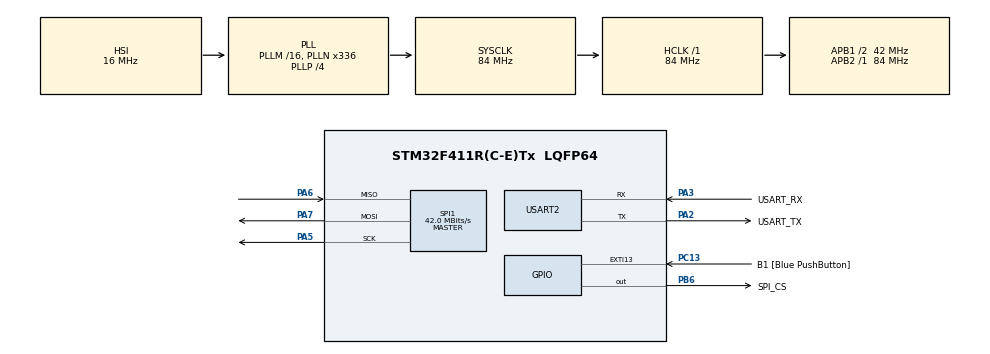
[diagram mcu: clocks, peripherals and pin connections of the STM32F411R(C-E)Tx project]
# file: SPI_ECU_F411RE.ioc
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FREERTOS.Tasks01=defaultTask,24,128,StartDefaultTask,Default,NULL,Dynamic,NULL,NULL
Mcu.Family=STM32F4
Mcu.Name=STM32F411R(C-E)Tx
Mcu.Package=LQFP64
NVIC.PriorityGroup=NVIC_PRIORITYGROUP_4
PA13.GPIO_Label=TMS
PA13.Mode=Serial_Wire
PA13.Signal=SYS_JTMS-SWDIO
PA14.GPIO_Label=TCK
PA14.Mode=Serial_Wire
PA14.Signal=SYS_JTCK-SWCLK
PA2.GPIO_Label=USART_TX
PA2.Mode=Asynchronous
PA2.Signal=USART2_TX
PA3.GPIO_Label=USART_RX
PA3.Mode=Asynchronous
PA3.Signal=USART2_RX
PA5.Mode=Full_Duplex_Master
PA5.Signal=SPI1_SCK
PA6.Mode=Full_Duplex_Master
PA6.Signal=SPI1_MISO
PA7.Mode=Full_Duplex_Master
PA7.Signal=SPI1_MOSI
PB3.GPIO_Label=SWO
PB3.Signal=SYS_JTDO-SWO
PB6.GPIO_Label=SPI_CS
PB6.Signal=GPIO_Output
PC13-ANTI_TAMP.GPIO_Label=B1 [Blue PushButton]
PC13-ANTI_TAMP.GPIO_ModeDefaultEXTI=GPIO_MODE_IT_FALLING
PC13-ANTI_TAMP.Signal=GPXTI13
PC14-OSC32_IN.Mode=LSE-External-Oscillator
PC14-OSC32_IN.Signal=RCC_OSC32_IN
PC15-OSC32_OUT.Mode=LSE-External-Oscillator
PC15-OSC32_OUT.Signal=RCC_OSC32_OUT
PH0\ -\ OSC_IN.Mode=HSE-External-Clock-Source
PH0\ -\ OSC_IN.Signal=RCC_OSC_IN
PH1\ -\ OSC_OUT.Mode=HSE-External-Clock-Source
PH1\ -\ OSC_OUT.Signal=RCC_OSC_OUT
ProjectManager.HeapSize=0x200
ProjectManager.StackSize=0x400
ProjectManager.TargetToolchain=STM32CubeIDE
RCC.48MHZClocksFreq_Value=84000000
RCC.AHBFreq_Value=84000000
RCC.APB1CLKDivider=RCC_HCLK_DIV2
RCC.APB1Freq_Value=42000000
RCC.APB1TimFreq_Value=84000000
RCC.APB2Freq_Value=84000000
RCC.APB2TimFreq_Value=84000000
RCC.CortexFreq_Value=84000000
RCC.FLatency-AdvancedSettings=FLASH_LATENCY_2
RCC.HCLKFreq_Value=84000000
RCC.HSE_VALUE=8000000
RCC.HSI_VALUE=16000000
RCC.PLLN=336
RCC.PLLP=RCC_PLLP_DIV4
RCC.SYSCLKFreq_VALUE=84000000
RCC.SYSCLKSource=RCC_SYSCLKSOURCE_PLLCLK
RCC.VCOOutputFreq_Value=336000000
SPI1.CalculateBaudRate=42.0 MBits/s
SPI1.Direction=SPI_DIRECTION_2LINES
SPI1.Mode=SPI_MODE_MASTER
SPI1.VirtualType=VM_MASTER
USART2.VirtualMode=VM_ASYNC
VP_FREERTOS_VS_CMSIS_V2.Mode=CMSIS_V2
board=NUCLEO-F411RE

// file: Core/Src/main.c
/* USER CODE BEGIN Header */
/**
  ******************************************************************************
  * @file           : main.c
  * @brief          : Main program body
  ******************************************************************************
  * @attention
  *
  * Copyright (c) 2025 STMicroelectronics.
  * All rights reserved.
  *
  * This software is licensed under terms that can be found in the LICENSE file
  * in the root directory of this software component.
  * If no LICENSE file comes with this software, it is provided AS-IS.
  *
  ******************************************************************************
  */
/* USER CODE END Header */
#include "main.h"
#include "cmsis_os.h"
#include "spi.h"
#include "usart.h"
#include "gpio.h"

void SystemClock_Config(void);
void MX_FREERTOS_Init(void);

int main(void)
{

  /* MCU Configuration--------------------------------------------------------*/

  /* Reset of all peripherals, Initializes the Flash interface and the Systick. */
  HAL_Init();

  /* Configure the system clock */
  SystemClock_Config();

  /* Initialize all configured peripherals */
  MX_GPIO_Init();
  MX_USART2_UART_Init();
  MX_SPI1_Init();

  /* Init scheduler */
  osKernelInitialize();  /* Call init function for freertos objects (in cmsis_os2.c) */
  MX_FREERTOS_Init();

  /* Start scheduler */
  osKernelStart();

  /* We should never get here as control is now taken by the scheduler */

  /* Infinite loop */
  while (1)
  {

  }
}

void SystemClock_Config(void)
{
  RCC_OscInitTypeDef RCC_OscInitStruct = {0};
  RCC_ClkInitTypeDef RCC_ClkInitStruct = {0};

  /** Configure the main internal regulator output voltage
  */
  __HAL_RCC_PWR_CLK_ENABLE();
  __HAL_PWR_VOLTAGESCALING_CONFIG(PWR_REGULATOR_VOLTAGE_SCALE1);

  /** Initializes the RCC Oscillators according to the specified parameters
  * in the RCC_OscInitTypeDef structure.
  */
  RCC_OscInitStruct.OscillatorType = RCC_OSCILLATORTYPE_HSI;
  RCC_OscInitStruct.HSIState = RCC_HSI_ON;
  RCC_OscInitStruct.HSICalibrationValue = RCC_HSICALIBRATION_DEFAULT;
  RCC_OscInitStruct.PLL.PLLState = RCC_PLL_ON;
  RCC_OscInitStruct.PLL.PLLSource = RCC_PLLSOURCE_HSI;
  RCC_OscInitStruct.PLL.PLLM = 16;
  RCC_OscInitStruct.PLL.PLLN = 336;
  RCC_OscInitStruct.PLL.PLLP = RCC_PLLP_DIV4;
  RCC_OscInitStruct.PLL.PLLQ = 4;
  if (HAL_RCC_OscConfig(&RCC_OscInitStruct) != HAL_OK)
  {
    Error_Handler();
  }

  /** Initializes the CPU, AHB and APB buses clocks
  */
  RCC_ClkInitStruct.ClockType = RCC_CLOCKTYPE_HCLK|RCC_CLOCKTYPE_SYSCLK
                              |RCC_CLOCKTYPE_PCLK1|RCC_CLOCKTYPE_PCLK2;
  RCC_ClkInitStruct.SYSCLKSource = RCC_SYSCLKSOURCE_PLLCLK;
  RCC_ClkInitStruct.AHBCLKDivider = RCC_SYSCLK_DIV1;
  RCC_ClkInitStruct.APB1CLKDivider = RCC_HCLK_DIV2;
  RCC_ClkInitStruct.APB2CLKDivider = RCC_HCLK_DIV1;

  if (HAL_RCC_ClockConfig(&RCC_ClkInitStruct, FLASH_LATENCY_2) != HAL_OK)
  {
    Error_Handler();
  }
}

void Error_Handler(void)
{
  __disable_irq();
  while (1)
  {
  }
}

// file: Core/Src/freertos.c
/* USER CODE BEGIN Header */
/**
  ******************************************************************************
  * File Name          : freertos.c
  * Description        : Code for freertos applications
  ******************************************************************************
  * @attention
  *
  * Copyright (c) 2025 STMicroelectronics.
  * All rights reserved.
  *
  * This software is licensed under terms that can be found in the LICENSE file
  * in the root directory of this software component.
  * If no LICENSE file comes with this software, it is provided AS-IS.
  *
  ******************************************************************************
  */
/* USER CODE END Header */

#include "FreeRTOS.h"
#include "task.h"
#include "main.h"
#include "cmsis_os.h"

/* USER CODE BEGIN Includes */

#include "spi.h"
#include "usart.h"
#include <string.h>
#include <stdio.h>

/* USER CODE END Includes */

/* USER CODE BEGIN PTD */
typedef struct __attribute__((packed)) {
  uint16_t height;
  uint16_t slide;
  uint16_t incline;
} SeatProfile;
/* USER CODE END PTD */

/* USER CODE BEGIN PD */
#define CMD_SAVE     0x01
#define CMD_LOAD     0x02
#define MAX_PROFILES 5
/* USER CODE END PD */

/* USER CODE BEGIN Variables */
osMutexId_t spiMutexHandle;
/* USER CODE END Variables */

/* Definitions for defaultTask */
osThreadId_t defaultTaskHandle;
const osThreadAttr_t defaultTask_attributes = {
  .name = "defaultTask",
  .stack_size = 128 * 4,
  .priority = (osPriority_t) osPriorityNormal,
};

/* Definitions for SaveTask */
osThreadId_t saveTaskHandle;
const osThreadAttr_t saveTask_attributes = {
  .name = "saveTask",
  .stack_size = 256 * 4,
  .priority = (osPriority_t) osPriorityBelowNormal,
};

/* Definitions for LoadTask */
osThreadId_t loadTaskHandle;
const osThreadAttr_t loadTask_attributes = {
  .name = "loadTask",
  .stack_size = 256 * 4,
  .priority = (osPriority_t) osPriorityLow,
};

/* USER CODE BEGIN FunctionPrototypes */
void StartSaveTask(void *argument);
void StartLoadTask(void *argument);
/* USER CODE END FunctionPrototypes */

void StartDefaultTask(void *argument);

void MX_FREERTOS_Init(void); /* (MISRA C 2004 rule 8.1) */

void MX_FREERTOS_Init(void) {

 /* Create the mutex(es) */
 /* definition and creation of spiMutex */
 spiMutexHandle = osMutexNew(NULL);

  /* Create the thread(s) */
  /* creation of defaultTask */
  defaultTaskHandle = osThreadNew(StartDefaultTask, NULL, &defaultTask_attributes);
  saveTaskHandle    = osThreadNew(StartSaveTask, NULL, &saveTask_attributes);
  loadTaskHandle    = osThreadNew(StartLoadTask, NULL, &loadTask_attributes);

}

void StartDefaultTask(void *argument)
{
  for(;;)
  {
    osDelay(1);
  }
}

/* USER CODE BEGIN 0 */
/* Retarget printf to USART2 */
int __io_putchar(int ch) {
  uint8_t c = ch & 0xFF;
  HAL_UART_Transmit(&huart2, &c, 1, HAL_MAX_DELAY);
  return ch;
}

/* Chip Select helpers */
static inline void CS_Select(void) {
  HAL_GPIO_WritePin(SPI_CS_GPIO_Port, SPI_CS_Pin, GPIO_PIN_RESET);
}
static inline void CS_Deselect(void) {
  HAL_GPIO_WritePin(SPI_CS_GPIO_Port, SPI_CS_Pin, GPIO_PIN_SET);
}

/* SPI save/load functions */
HAL_StatusTypeDef SaveProfileSPI(uint8_t id, SeatProfile *p) {
  HAL_StatusTypeDef st;
  uint8_t cmd[2] = { CMD_SAVE, id };

  osMutexAcquire(spiMutexHandle, osWaitForever);
  CS_Select();
  st = HAL_SPI_Transmit(&hspi1, cmd, 2, HAL_MAX_DELAY);
  if (st == HAL_OK) {
    st = HAL_SPI_Transmit(&hspi1, (uint8_t*)p, sizeof(SeatProfile), HAL_MAX_DELAY);
  }
  CS_Deselect();
  osMutexRelease(spiMutexHandle);

  return st;
}

HAL_StatusTypeDef LoadProfileSPI(uint8_t id, SeatProfile *p) {
  HAL_StatusTypeDef st;
  uint8_t cmd[2] = { CMD_LOAD, id };
  uint8_t rxbuf[sizeof(SeatProfile)];
  uint8_t txDummy[sizeof(SeatProfile)];
  memset(txDummy, 0xFF, sizeof(txDummy));

  osMutexAcquire(spiMutexHandle, osWaitForever);
  CS_Select();
  st = HAL_SPI_Transmit(&hspi1, cmd, 2, HAL_MAX_DELAY);
  if (st == HAL_OK) {
    st = HAL_SPI_TransmitReceive(&hspi1, txDummy, rxbuf, sizeof(SeatProfile), HAL_MAX_DELAY);
  }
  CS_Deselect();
  osMutexRelease(spiMutexHandle);

  if (st == HAL_OK) memcpy(p, rxbuf, sizeof(SeatProfile));
  return st;
}
/* USER CODE END 0 */

/* USER CODE BEGIN 4 */
void StartSaveTask(void *argument)
{
  SeatProfile p;
  uint8_t id = 0;

  for(;;)
  {
    p.height  = 100 + id * 10;
    p.slide   = 200 + id * 5;
    p.incline = 10  + id;

    if (SaveProfileSPI(id, &p) == HAL_OK) {
      printf("[SAVE] Profile %u saved: H=%u S=%u I=%u\r\n", id, p.height, p.slide, p.incline);
    } else {
      printf("[SAVE] Error saving profile %u\r\n", id);
    }

    id = (id + 1) % MAX_PROFILES;
    osDelay(5000); // every 5s
  }
}

void StartLoadTask(void *argument)
{
  SeatProfile p;

  for(;;)
  {
    for (uint8_t i = 0; i < MAX_PROFILES; i++) {
      if (LoadProfileSPI(i, &p) == HAL_OK) {
        printf("[LOAD] ID=%u -> H=%u S=%u I=%u\r\n", i, p.height, p.slide, p.incline);
      } else {
        printf("[LOAD] Error loading ID=%u\r\n", i);
      }
      osDelay(100); // small gap
    }
    osDelay(8000);
  }
}
/* USER CODE END 4 */
